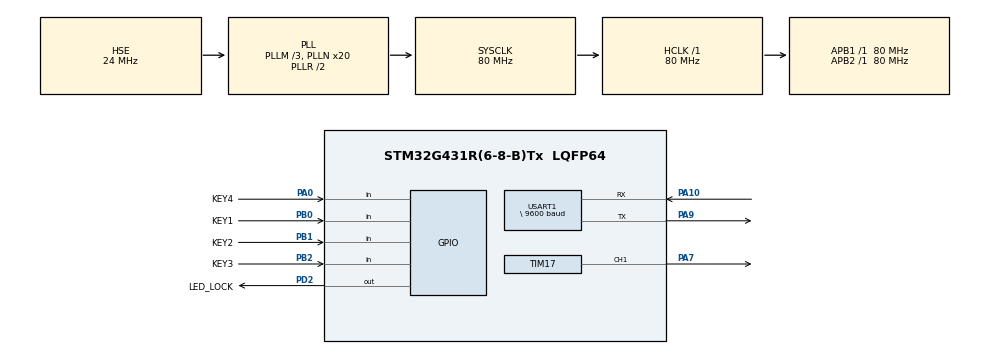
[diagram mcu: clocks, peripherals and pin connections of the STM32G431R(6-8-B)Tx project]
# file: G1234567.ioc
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Mcu.Family=STM32G4
Mcu.Name=STM32G431R(6-8-B)Tx
Mcu.Package=LQFP64
NVIC.PriorityGroup=NVIC_PRIORITYGROUP_4
NVIC.USART1_IRQn=true\:1\:0\:true\:false\:true\:true\:true
PA0.GPIO_Label=KEY4
PA0.Signal=GPIO_Input
PA10.Mode=Asynchronous
PA10.Signal=USART1_RX
PA7.Signal=S_TIM17_CH1
PA9.Mode=Asynchronous
PA9.Signal=USART1_TX
PB0.GPIO_Label=KEY1
PB0.Signal=GPIO_Input
PB1.GPIO_Label=KEY2
PB1.Signal=GPIO_Input
PB2.GPIO_Label=KEY3
PB2.Signal=GPIO_Input
PD2.GPIO_Label=LED_LOCK
PD2.Signal=GPIO_Output
PF0-OSC_IN.Mode=HSE-External-Oscillator
PF0-OSC_IN.Signal=RCC_OSC_IN
PF1-OSC_OUT.Mode=HSE-External-Oscillator
PF1-OSC_OUT.Signal=RCC_OSC_OUT
ProjectManager.HeapSize=0x200
ProjectManager.StackSize=0x400
ProjectManager.TargetToolchain=MDK-ARM V5.32
RCC.ADC12Freq_Value=80000000
RCC.AHBFreq_Value=80000000
RCC.APB1Freq_Value=80000000
RCC.APB1TimFreq_Value=80000000
RCC.APB2Freq_Value=80000000
RCC.APB2TimFreq_Value=80000000
RCC.CortexFreq_Value=80000000
RCC.EXTERNAL_CLOCK_VALUE=12288000
RCC.HCLKFreq_Value=80000000
RCC.HSE_VALUE=24000000
RCC.HSI48_VALUE=48000000
RCC.HSI_VALUE=16000000
RCC.LSE_VALUE=32768
RCC.PLLM=RCC_PLLM_DIV3
RCC.PLLN=20
RCC.PLLSourceVirtual=RCC_PLLSOURCE_HSE
RCC.SYSCLKFreq_VALUE=80000000
RCC.SYSCLKSource=RCC_SYSCLKSOURCE_PLLCLK
RCC.USBFreq_Value=80000000
RCC.VCOOutputFreq_Value=160000000
SH.S_TIM17_CH1.0=TIM17_CH1,PWM Generation1 CH1
TIM17.Channel=TIM_CHANNEL_1
TIM17.PeriodNoDither=499
TIM17.Prescaler=79
USART1.BaudRate=\ 9600
USART1.VirtualMode-Asynchronous=VM_ASYNC
VP_SYS_VS_DBSignals.Mode=DisableDeadBatterySignals
VP_TIM17_VS_ClockSourceINT.Mode=Enable_Timer
board=custom

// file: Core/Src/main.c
/* USER CODE BEGIN Header */
/**
  ******************************************************************************
  * @file           : main.c
  * @brief          : Main program body
  ******************************************************************************
  * @attention
  *
  * <h2><center>&copy; Copyright (c) 2022 STMicroelectronics.
  * All rights reserved.</center></h2>
  *
  * This software component is licensed by ST under BSD 3-Clause license,
  * the "License"; You may not use this file except in compliance with the
  * License. You may obtain a copy of the License at:
  *                        opensource.org/licenses/BSD-3-Clause
  *
  ******************************************************************************
  */
/* USER CODE END Header */
#include "main.h"
#include "tim.h"
#include "usart.h"
#include "gpio.h"

/* USER CODE BEGIN Includes */
#include "bsp_led_key.h"
#include "lcd.h"

#include "stdbool.h" // bool数据类型
#include "stdio.h"   // 标准输入输出库
#include "string.h"  // 字符串相关标准库
#include "ctype.h"   // 判断 ASCII码 是否为 "数字"
#include "time.h"    // 计算时间相关标准库

/* USER CODE END Includes */

/* USER CODE BEGIN PTD */
typedef struct
{
	u8 state;   // 车位是否占用 1-占用 0-空闲
	u8 type;    // 车的类型 'C' / 'V'
	u8 id[5];   // 车的编号 (多余一位存放 0 即'\0',方便打印id)
	time_t sec; // 入车库时刻
} Data_Type;

/* USER CODE END PTD */

/* USER CODE BEGIN PV */
// 软件定时器Tick （MutilTimer 简易版）
__IO u32 KEY_Timer_Tick = 0;
__IO u32 LED_Timer_Tick = 0;
__IO u32 LCD_Timer_Tick = 0;
__IO u32 UART_Timer_Tick = 0;

// 外设相关变量
u8 ucLED = 0x01;

u8 KEY_Val, KEY_Down, KEY_Old = 0;

u8 LCD_String_Buffer[21] = {0};

u8 Uart_Rx_Pointer = 0;
u8 Uart_Rx_Buffer = 0;
u8 Uart_Rx[150] = {0};

u8 Uart_Tx_Buffer[150] = {0};

//题目算法相关变量
bool Menu_State = 0;
bool PWM_Ctrl = 0;

Data_Type Data[8] = {0}; // 车位数据

u8 No_Use_Num = 8;   // 空闲车位
u8 CNBR_Use_Num = 0; // C类占用车位数
u8 VNBR_Use_Num = 0; // V类占用车位数

u16 CNBR_Fee_X10 = 35; // C类停车费用
u16 VNBR_Fee_X10 = 20; // V类停车费用

char *CNBR_String = "CNBR"; // 方便打印等
char *VNBR_String = "VNBR"; // 方便打印等

/* USER CODE END PV */

void SystemClock_Config(void);

/* USER CODE BEGIN 0 */
void KEY_Proc(void);
void LED_Proc(void);
void LCD_Proc(void);
void UART_Proc(void);

/* USER CODE END 0 */

int main(void)
{

  /* MCU Configuration--------------------------------------------------------*/

  /* Reset of all peripherals, Initializes the Flash interface and the Systick. */
  HAL_Init();

  /* Configure the system clock */
  SystemClock_Config();

  /* Initialize all configured peripherals */
  MX_GPIO_Init();
  MX_TIM17_Init();
  MX_USART1_UART_Init();
  /* USER CODE BEGIN 2 */
	LCD_Init();
	LCD_Clear(Black);
	LCD_SetBackColor(Black);
	LCD_SetTextColor(White);

	LED_Disp(ucLED);

  /* USER CODE END 2 */

  /* Infinite loop */
  /* USER CODE BEGIN WHILE */
	HAL_TIM_PWM_Start(&htim17, TIM_CHANNEL_1);
	HAL_UART_Receive_IT(&huart1, &Uart_Rx_Buffer, 1);

  while (1)
  {
    /* USER CODE END WHILE */

    /* USER CODE BEGIN 3 */
		KEY_Proc();
		LED_Proc();
		LCD_Proc();
		UART_Proc();

  }
  /* USER CODE END 3 */
}

void SystemClock_Config(void)
{
  RCC_OscInitTypeDef RCC_OscInitStruct = {0};
  RCC_ClkInitTypeDef RCC_ClkInitStruct = {0};
  RCC_PeriphCLKInitTypeDef PeriphClkInit = {0};

  /** Configure the main internal regulator output voltage
  */
  HAL_PWREx_ControlVoltageScaling(PWR_REGULATOR_VOLTAGE_SCALE1);
  /** Initializes the RCC Oscillators according to the specified parameters
  * in the RCC_OscInitTypeDef structure.
  */
  RCC_OscInitStruct.OscillatorType = RCC_OSCILLATORTYPE_HSE;
  RCC_OscInitStruct.HSEState = RCC_HSE_ON;
  RCC_OscInitStruct.PLL.PLLState = RCC_PLL_ON;
  RCC_OscInitStruct.PLL.PLLSource = RCC_PLLSOURCE_HSE;
  RCC_OscInitStruct.PLL.PLLM = RCC_PLLM_DIV3;
  RCC_OscInitStruct.PLL.PLLN = 20;
  RCC_OscInitStruct.PLL.PLLP = RCC_PLLP_DIV2;
  RCC_OscInitStruct.PLL.PLLQ = RCC_PLLQ_DIV2;
  RCC_OscInitStruct.PLL.PLLR = RCC_PLLR_DIV2;
  if (HAL_RCC_OscConfig(&RCC_OscInitStruct) != HAL_OK)
  {
    Error_Handler();
  }
  /** Initializes the CPU, AHB and APB buses clocks
  */
  RCC_ClkInitStruct.ClockType = RCC_CLOCKTYPE_HCLK|RCC_CLOCKTYPE_SYSCLK
                              |RCC_CLOCKTYPE_PCLK1|RCC_CLOCKTYPE_PCLK2;
  RCC_ClkInitStruct.SYSCLKSource = RCC_SYSCLKSOURCE_PLLCLK;
  RCC_ClkInitStruct.AHBCLKDivider = RCC_SYSCLK_DIV1;
  RCC_ClkInitStruct.APB1CLKDivider = RCC_HCLK_DIV1;
  RCC_ClkInitStruct.APB2CLKDivider = RCC_HCLK_DIV1;

  if (HAL_RCC_ClockConfig(&RCC_ClkInitStruct, FLASH_LATENCY_2) != HAL_OK)
  {
    Error_Handler();
  }
  /** Initializes the peripherals clocks
  */
  PeriphClkInit.PeriphClockSelection = RCC_PERIPHCLK_USART1;
  PeriphClkInit.Usart1ClockSelection = RCC_USART1CLKSOURCE_PCLK2;
  if (HAL_RCCEx_PeriphCLKConfig(&PeriphClkInit) != HAL_OK)
  {
    Error_Handler();
  }
}

/* USER CODE BEGIN 4 */
void KEY_Proc(void)
{
	if(KEY_Timer_Tick > HAL_GetTick()) return;
	KEY_Timer_Tick = HAL_GetTick() + 50;

	KEY_Val = KEY_Scan();
	KEY_Down = KEY_Val & (KEY_Val ^ KEY_Old);
	KEY_Old = KEY_Val;

	switch(KEY_Down)
	{
		case 1:
			Menu_State ^= 1;
			LCD_Clear(Black);
			break;

		case 2:
			if(Menu_State)
			{
				CNBR_Fee_X10 += 5;
				VNBR_Fee_X10 += 5;
			}
			break;

		case 3:
			if(Menu_State)
			{
				CNBR_Fee_X10 -= 5;
				VNBR_Fee_X10 -= 5;
				if(VNBR_Fee_X10 == 0)
				{
					CNBR_Fee_X10 = 20; //35
					VNBR_Fee_X10 = 5;  //20
				}
			}
			break;

		case 4:
			PWM_Ctrl ^= 1;
			if(PWM_Ctrl)
			{
				__HAL_TIM_SetCompare(&htim17, TIM_CHANNEL_1, 100);
				ucLED |= 0x02;
			}
			else
			{
				__HAL_TIM_SetCompare(&htim17, TIM_CHANNEL_1, 0);
				ucLED &= ~0x02;
			}
			break;
	}
}

void LED_Proc(void)
{
	if(LED_Timer_Tick > HAL_GetTick()) return;
	LED_Timer_Tick = HAL_GetTick() + 150;

	if(No_Use_Num)
	{
		ucLED |= 0x01;
	}
	else
	{
		ucLED &= ~0x01;
	}

	LED_Disp(ucLED);
}

void LCD_Proc(void)
{
	if(HAL_GetTick() < LCD_Timer_Tick) return;
	LCD_Timer_Tick = HAL_GetTick() + 100;

	if(Menu_State == 0)
	{
		sprintf((char *)LCD_String_Buffer, "       Data");
		LCD_DisplayStringLine(Line1, LCD_String_Buffer);
		sprintf((char *)LCD_String_Buffer, "   CNBR:%d", CNBR_Use_Num);
		LCD_DisplayStringLine(Line3, LCD_String_Buffer);
		sprintf((char *)LCD_String_Buffer, "   VNBR:%d", VNBR_Use_Num);
		LCD_DisplayStringLine(Line5, LCD_String_Buffer);
		sprintf((char *)LCD_String_Buffer, "   IDLE:%d", No_Use_Num);
		LCD_DisplayStringLine(Line7, LCD_String_Buffer);
	}
	else
	{
		sprintf((char *)LCD_String_Buffer, "       Para");
		LCD_DisplayStringLine(Line1, LCD_String_Buffer);
		sprintf((char *)LCD_String_Buffer, "   CNBR:%4.2f", CNBR_Fee_X10 / 10.0f);
		LCD_DisplayStringLine(Line3, LCD_String_Buffer);
		sprintf((char *)LCD_String_Buffer, "   VNBR:%4.2f", VNBR_Fee_X10 / 10.0f);
		LCD_DisplayStringLine(Line5, LCD_String_Buffer);
	}
}

void HAL_UART_RxCpltCallback(UART_HandleTypeDef *huart)
{
	// 每进一次中断就复位软件定时器
	UART_Timer_Tick = HAL_GetTick() + 20;

	Uart_Rx[Uart_Rx_Pointer] = Uart_Rx_Buffer;
	Uart_Rx_Pointer++;

	HAL_UART_Receive_IT(&huart1, &Uart_Rx_Buffer, 1);
}

// 检查命令格式函数
// 若命令格式正确，则将对应日期以1970-1-1 00:00:00为起点转换为秒
// 若命令格式错误，则返回0
time_t Command_Check(u8 * command)
{
	u8 i;
	struct tm info ={0}; // "time.h" 标准库 结构体

	if(command[4] == ':' && command[9] == ':')
	{
		for(i = 10; i < 22; i++)
		{
			if(isdigit(command[i])) // 调用"ctype.h"标准库 判断 ASCII码 是否为 "数字"
				command[i] -= '0';
			else
				return 0;
		}

		// 将时间转换为tm结构体格式
		info.tm_year = command[10] * 10 + command[11] + 2000 - 1900; /* years since 1900 */
		info.tm_mon  = command[12] * 10 + command[13] - 1; /* months since January, 0 to 11 */
		info.tm_mday = command[14] * 10 + command[15];
		info.tm_hour = command[16] * 10 + command[17];
		info.tm_min  = command[18] * 10 + command[19];
		info.tm_sec  = command[20] * 10 + command[21];

		if(info.tm_mon  < 12 && (info.tm_mday > 0  && info.tm_mday < 32) && \
			 info.tm_hour < 24 &&  info.tm_min  < 60 && info.tm_sec  < 60)
		{
			//调用"time.h" 标准库，将日期以1970-1-1 00:00:00为起点转换为秒
			return mktime(&info);
		}
	}
	return 0;
}

void UART_Proc(void)
{
	u8 Postion; // 车库位置
	time_t dt_hour = 0; // 存放时间差
	__IO bool dir = 1;  // 出入车库方向 1-In  0-Out
	Data_Type Data_Temp = {0}; //存放临时数据

	if(Uart_Rx_Pointer)
	{
		if(UART_Timer_Tick > HAL_GetTick()) return;
		if(Uart_Rx_Pointer != 22) goto SEND_ERROR;

		Data_Temp.sec = Command_Check(Uart_Rx);
		if(Data_Temp.sec == 0) goto SEND_ERROR;

		// 检查车的类型是否正确
		if(memcmp(CNBR_String, Uart_Rx, 4) == 0)
			Data_Temp.type = 'C';
		else if(memcmp(VNBR_String, Uart_Rx, 4) == 0)
			Data_Temp.type = 'V';
		else
		 goto SEND_ERROR;

		// 拷贝id，方便后续判断与入车库等操作
		memcpy(Data_Temp.id, &Uart_Rx[5], 4);

		//....right 命令格式正确
		// 判断是入车库还是出车库 以及找出对应车位
		for(Postion = 0; Postion < 8; Postion++)
		{
			if(Data[Postion].state)
			{
				if(memcmp(Data_Temp.id, Data[Postion].id, 4) == 0)
				{
					dir = 0; // Out-出车库
					break;
				}
			}
		}
		if(Postion == 8)
		{
			if(No_Use_Num == 0) goto SEND_ERROR;
			for(Postion = 0; Postion < 8; Postion++)
			{
				if(Data[Postion].state == 0)
				{
					dir = 1; // In-入车库
					break;
				}
			}
		}

		//....有车位
		if(dir) // 1-In
		{
			Data[Postion] = Data_Temp;

			Data[Postion].state = 1;

			No_Use_Num--;
			if(Data[Postion].type == 'C')
				CNBR_Use_Num++;
			else if(Data[Postion].type == 'V')
				VNBR_Use_Num++;
		}
		else // 0-Out
		{
			if(Data[Postion].type != Data_Temp.type) goto SEND_ERROR; // id一样，看出入车库前后的type(车型)是否一致
			if(Data[Postion].sec >= Data_Temp.sec) goto SEND_ERROR;   // 入车库时间 比 出车库时间 早

			dt_hour =  (Data_Temp.sec - Data[Postion].sec) /3600.0f + 1; // 不满一小时按一小时算

			Data[Postion].state = 0;

			No_Use_Num++;
			if(Data[Postion].type == 'C')
			{
				CNBR_Use_Num--;
				sprintf((char *)Uart_Tx_Buffer, "%s:%s:%d:%.2f\n",CNBR_String, Data[Postion].id, dt_hour,dt_hour * CNBR_Fee_X10 / 10.0f);
			}
			else if(Data[Postion].type == 'V')
			{
				VNBR_Use_Num--;
				sprintf((char *)Uart_Tx_Buffer, "%s:%s:%d:%.2f\n",VNBR_String, Data[Postion].id, dt_hour,dt_hour * VNBR_Fee_X10 / 10.0f);
			}
			HAL_UART_Transmit(&huart1, Uart_Tx_Buffer, strlen((const char *)Uart_Tx_Buffer),50);
		}

		goto PASS;
		SEND_ERROR:
			sprintf((char *)Uart_Tx_Buffer, "Error\n");
			HAL_UART_Transmit(&huart1, Uart_Tx_Buffer, strlen((const char *)Uart_Tx_Buffer),50);
		PASS:

		memset(Uart_Rx, 0, 22);
		Uart_Rx_Pointer = 0;
	}
}

/* USER CODE END 4 */

void Error_Handler(void)
{
  __disable_irq();
  while (1)
  {
  }
}

/************************ (C) COPYRIGHT STMicroelectronics *****END OF FILE****/
